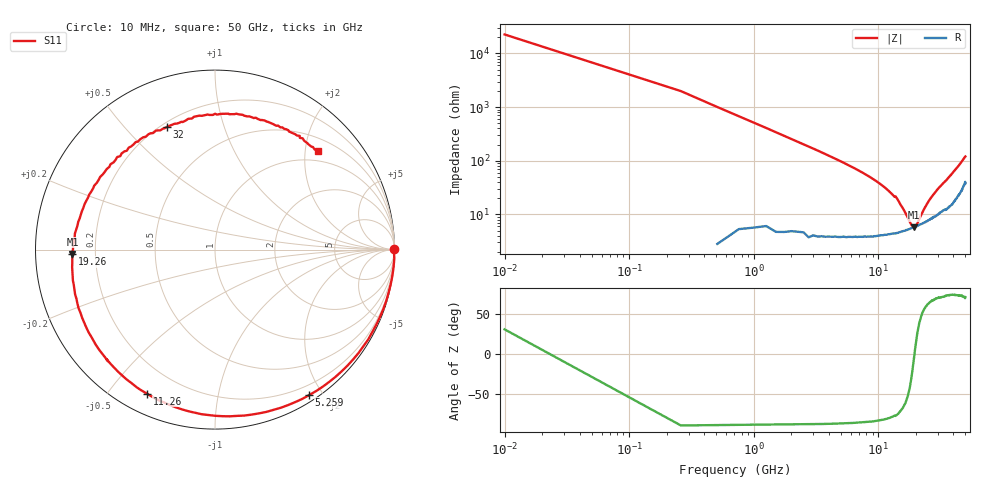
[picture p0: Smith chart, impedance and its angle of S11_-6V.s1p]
!Agilent Technologies,N5227A,US51270434,A.10.00.00
!Agilent N5227A: A.10.00.00
!Date: Thursday, February 26, 2026 11:56:18
!Correction: S11(Full 1 Port(1))
!S1P File: Measurement: S11:
# Hz S  dB  R 50
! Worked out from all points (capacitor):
!   201 points, 10 MHz to 50 GHz, reference 50 ohm
!   read as one part to ground: C = 309 fF near 259.9 MHz
!   lowest |Z| = 5.77 ohm at 19.26 GHz (marker M1)
!   series resonance near 19.51 GHz, so ESL is about 220 pH
!   S11 on the Smith chart (normalised r, x): 10 MHz: open; 5.259 GHz: 0.08, -1.84; 11.26 GHz: 0.08, -0.63; 19.26 GHz: 0.11, -0.02; 32 GHz: 0.22, +0.66; 50 GHz: 0.76, +2.28
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1e7  -0.03 0.1
1.25975e9  -0.03 -14.0
2.5095e9  -0.09 -27.6
4.0092e9  -0.19 -43.9
5.25895e9  -0.31 -57.1
6.25875e9  -0.41 -67.4
7.5085e9  -0.55 -80.0
8.5083e9  -0.67 -89.8
9.75805e9  -0.83 -101.7
1.125775e10  -1.04 -115.3
1.25075e10  -1.19 -126.2
1.35073e10  -1.32 -134.7
1.375725e10  -1.30 -133.7
1.55069e10  -1.57 -150.9
1.70066e10  -1.74 -162.3
1.875625e10  -1.96 -174.8
1.925615e10  -1.99 -178.2
2.20056e10  -2.25 163.9
2.5005e10  -2.47 146.2
2.875425e10  -2.56 126.4
3.125375e10  -2.72 114.7
3.20036e10  -2.68 111.4
3.55029e10  -2.48 96.6
3.75025e10  -2.43 87.9
3.925215e10  -2.31 81.0
4.375125e10  -2.27 63.7
4.675065e10  -2.05 53.3
5e10  -1.98 43.8
